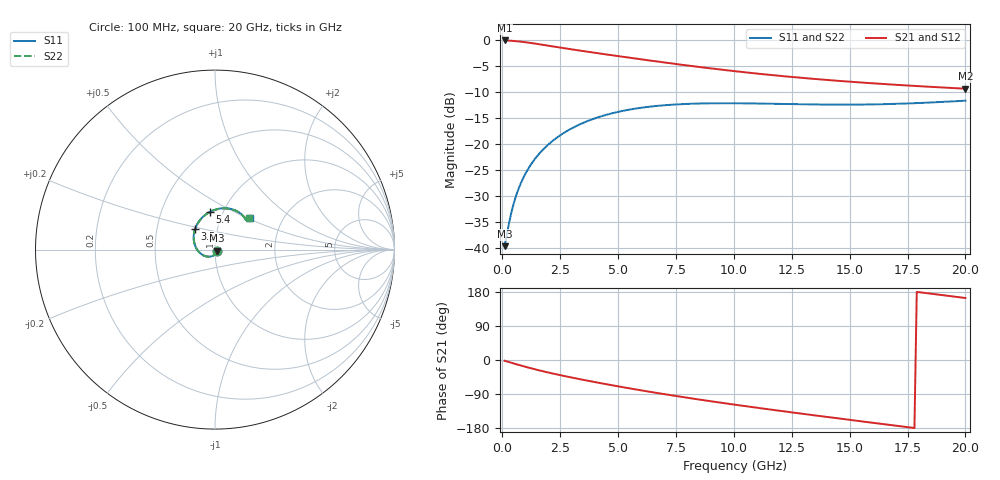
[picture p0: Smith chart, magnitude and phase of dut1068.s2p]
! Touchstone file exported from HFSS 2024.1.0
!  File:  C:/UserFiles/LocalFiles/RDL_TSV_Batchsim/temp_RDL_TSV_1068_1780092516.aedt
!  Generated:  06:23:17 AM May 30, 2026
!  Design:  RDL_TSV
!  Project:  temp_RDL_TSV_1068_1780092516
!  Setup:  Setup1
!  Solution:  Sweep
! Variables:
!  dtsv = 11.28um
!  hbump = 3um
!  htsv = 98.9um
!  ldown = 165.94um
!  lrdl = 512.03um
!  p = 40
!  p1 = 51.41um
!  rhole = 10um
!  subl = 2545.94um
!  t = 450um
!  tdown = 4.33um
!  trdl = 4.39um
!  viad = 10um
!  wdown = 15.51um
!  wrdl = 29.32um
!  xbump = 18um
# GHz S MA R 50.000000
! Terminal data exported
! Port[1] = TM1_1_T1
! Port[2] = TM1_4_T1
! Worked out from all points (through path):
!   200 points, 100 MHz to 20 GHz, reference 50 ohm
!   highest |S21| = -0.09 dB at 100 MHz (marker M1); lowest = -9.4 dB at 20 GHz (marker M2)
!   group delay of S21, straight-line fit = 25.6 ps
!   lowest |S11| = -39.6 dB at 100 MHz (marker M3), VSWR 1.02, Z = 50.9 - j0.541 ohm
!   |S11| at or under -10 dB: start of sweep to end of sweep
!   |S22| runs from -39.6 to -11.7 dB; largest |S21 - S12| = 1e-14
!   S11 on the Smith chart (normalised r, x): 100 MHz: 1.02, -0.01; 3.5 GHz: 0.78, +0.19; 5.4 GHz: 0.87, +0.38; 20 GHz: 1.37, +0.52
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0.1  0.01045 -30.6  0.99 -1.9  0.99 -1.9  0.01045 -30.6
! Gamma 0 0 0 0
! Port Impedance 50 0 50 0
0.3  0.01778 -70.5  0.9855 -5.7  0.9855 -5.7  0.01778 -70.4
0.4  0.02239 -83.2  0.9823 -7.5  0.9823 -7.5  0.02239 -83.2
0.6  0.03212 -102.5  0.9743 -11.1  0.9743 -11.1  0.03212 -102.5
0.7  0.03708 -110.5  0.9694 -12.8  0.9694 -12.8  0.03708 -110.4
0.9  0.04702 -124.4  0.9583 -16.3  0.9583 -16.3  0.04701 -124.3
1.2  0.0618 -142.3  0.9389 -21.3  0.9389 -21.3  0.06176 -142.2
1.7  0.08573 -167.1  0.9029 -28.9  0.9029 -28.9  0.08562 -167.0
2.2  0.1085 172.6  0.8666 -36.0  0.8666 -36.0  0.1082 172.7
2.8  0.1338 152.5  0.8257 -43.8  0.8257 -43.8  0.1334 152.6
3.5  0.1601 133.6  0.7821 -52.4  0.7821 -52.4  0.1596 133.7
4.4  0.1885 114.2  0.7314 -62.9  0.7314 -62.9  0.1878 114.3
5.4  0.2125 97.4  0.6804 -73.8  0.6804 -73.8  0.2116 97.5
6.8  0.234 79.7  0.6166 -88.2  0.6166 -88.2  0.2329 79.7
8.4  0.245 65.3  0.5542 -103.4  0.5542 -103.4  0.2438 65.3
10.1  0.2467 54.9  0.4999 -118.4  0.4999 -118.4  0.2454 54.9
11.7  0.2439 48.6  0.4589 -131.8  0.4589 -131.8  0.2426 48.6
13.4  0.2404 44.9  0.424 -145.4  0.424 -145.4  0.2391 44.8
15  0.2394 43.3  0.3976 -157.9  0.3976 -157.9  0.238 43.2
16.7  0.2425 42.8  0.3747 -171.1  0.3747 -171.1  0.2411 42.7
18.3  0.2497 42.7  0.3568 176.6  0.3568 176.6  0.2483 42.6
20  0.2613 42.4  0.3405 163.6  0.3405 163.6  0.2597 42.3
